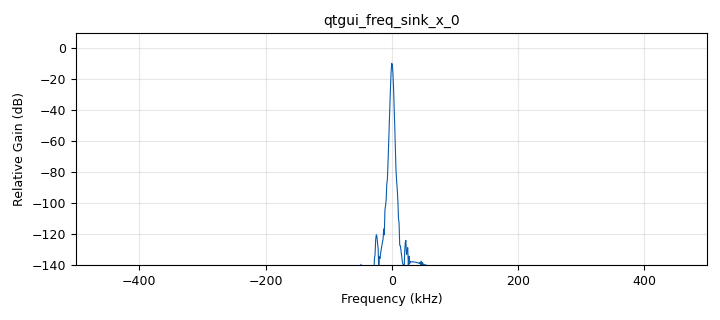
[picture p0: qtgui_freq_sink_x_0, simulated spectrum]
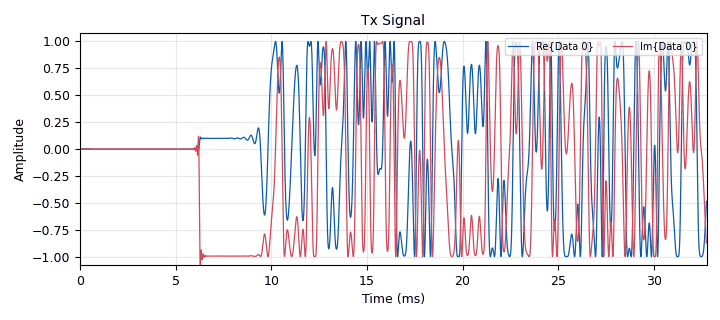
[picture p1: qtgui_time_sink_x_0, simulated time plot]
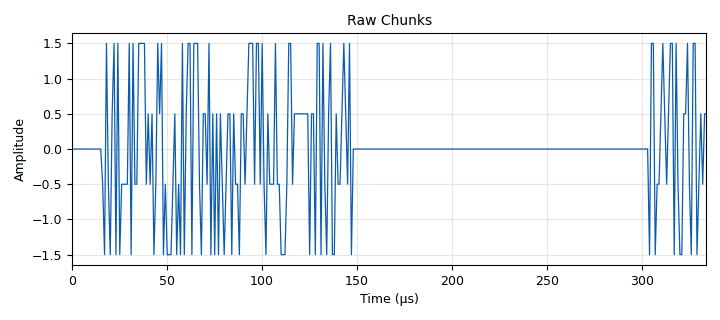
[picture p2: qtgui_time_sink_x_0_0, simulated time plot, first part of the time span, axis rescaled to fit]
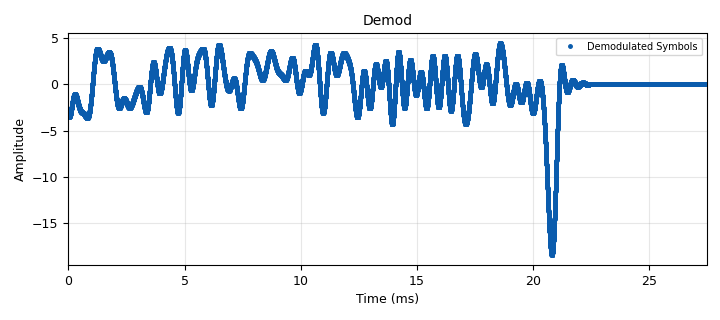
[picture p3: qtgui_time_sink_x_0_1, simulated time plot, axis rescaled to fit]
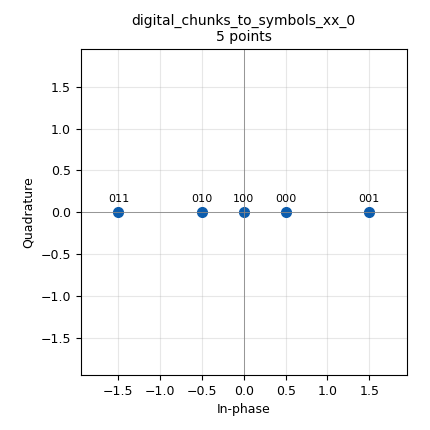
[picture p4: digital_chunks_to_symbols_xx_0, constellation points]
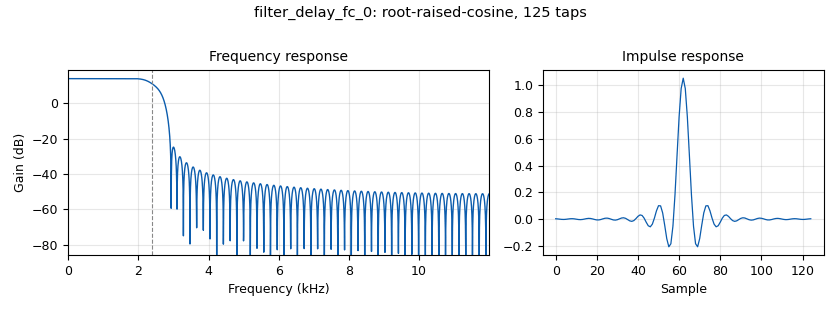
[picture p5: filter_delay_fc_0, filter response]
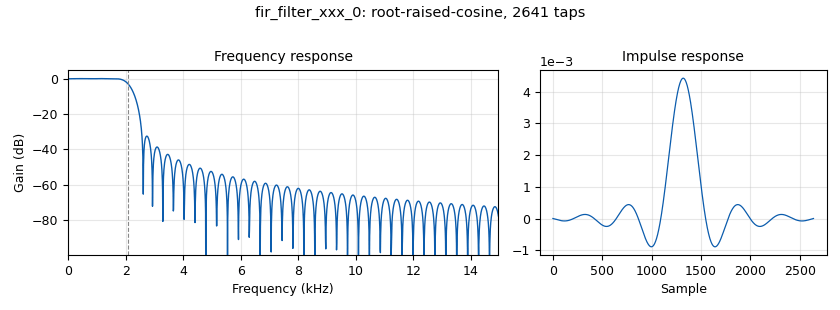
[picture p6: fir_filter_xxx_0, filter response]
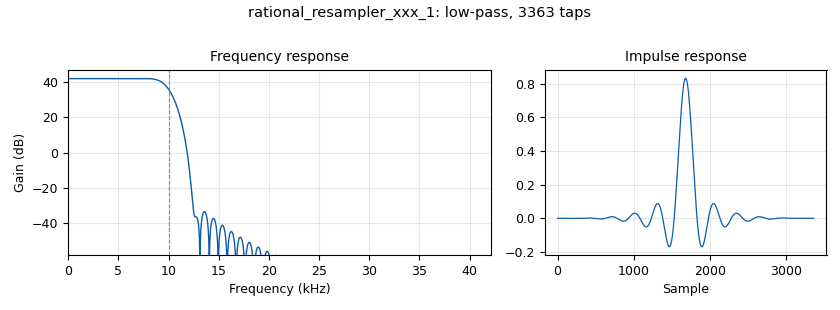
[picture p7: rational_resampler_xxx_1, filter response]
options:
  parameters:
    generate_options: qt_gui
    id: dmr_cleann
    output_language: python
    title: dmr_cleann
  states: {}

blocks:
- name: center_freq
  id: variable_qtgui_range
  parameters:
    gui_hint: 0, 0, 1, 1
    label: center_freq
    start: 425e6
    step: 1e3
    stop: 445e6
    value: '433575000'
  states: {}
- name: freq_dev
  id: variable_qtgui_range
  parameters:
    gui_hint: 0, 1, 1, 1
    label: freq_dev
    start: '500'
    step: '1'
    stop: '200000'
    value: '648'
  states: {}
- name: hex_words
  id: variable
  parameters:
    comment: |-
      [7922263870538771554788080363891498916691662015450391719279984254915555048686304, 26709872891040799439781105841695362327852587069220375972205448215691272463949631, 24632910507550592818247771191970292757703581224215796293536253518757021152353033, 16871621001854400919925535024706779052650019372438533289640847735202188530523145, 26824818206225312975064957313613261167321437644939396728492416553849084082500453, 27663229782224739662601419111465142577709463063250896002360562318052340493037923, 26958545861704246671181170751509104922032500646138449382658833719189317675987138, 16402627696236514389013506453749182099769419891517576542395337516955926239731634, 21887647269882610507288722967177175610698849557442250192089839496524973896091440, 27663286116094670893210372459089739373168061738061717604723508240785537456919753, 27121418726934060902654747431263863508212573902429154683271051170752610922408559, 4940239758846934288267106674176986337306400137116682937028907199983195269836663, 11108034536414303417784923599085334126292549866564147455437486366077868870165517, 14799419979491821113733130742144015081373118929375431063257504647379789623081179, 25408521133743610169800742925184222080926687120998889710077886340988878094019826, 15568801836391479749091631638782144528669110993217441680445368105322513767835430, 17516847743889772710541317239220557284245050271030362747744172631093644536039211, 22479064255756331329801296419312533648414960045145005380156808990817250862673014, 22495859007588135102615761808608677049200507852894023470071500259248076992845575, 24848736754538546024478519613494297402133116563951296630601520822330820034740300, 27347587290963256812155734283133067028984950710684654062162071270332604141143471, 26831994426409510897562566815423460506692495329755449114518611707460616820876901, 23634498427772464745182622902883708948473646743238395208297793674932429281051641, 18620656575926070181322878553908320886914182186499974457777017164777599877798147, 18586970608344366164259669921291245709020499735972358058399275694007884897882266, 25369554621359088820805775665844414652957925060636512781164864325463790405375894, 21082525814476989905574975920952114599082097357872579096278662972043139778184347, 19159143714142652283037644684485569273591048195975097720015931975158807296265357, 16791849106554165435985277793868064428262757272039727328492268837643815762200910, 17090316608616044549321392683728029821978348269625346216262490181077229528489603, 26410170127378604961207705824639924702648680552948553211990034777095647835409831, 24233253860995791985149968324399206235212615694119655868299081374302515589867345, 18555869289839373115030732163138046540215772590417393158286525169331653215378903, 20539715003465807518725369021551918559622346767243963537115679987248437835127791, 22118226684741381218940769694959025495606395396926664388181413087471773083995138, 28170796749637100509759318343397827275335618089388381892237825724242361843186126, 17300919210009764062621873438791748153410060831908872303794440294343782608163231, 25187823191548160476999418873495074677941339215448258605330477210100811333070817, 19926870475024572177043202969657454715526176166499178067879086621232794639897022, 24305929893608133296263431621368677397656278058262475580218936496647349081703126, 16330039234082078806269392032754122922223412517172110388738478228050777775099151, 23755425456272907406341259237993547798293496824923774147223695260874132375298731, 15449152098412870738636898177675979371424462675606797708241870721047216970023936, 7875676006006970276557264986319862794334493852615962818455253901179498585326291]
      [1757267730907742830085168796217001194752813194112263741422447119562445457171871]*30

      [9513503246535782987614304013916021342356500772260679874632373391689932418486236, 9513503246535782987614304013916021342356500772260679874632373391689932418486236, 2278714118169264277612699032779929639762874309268204459804087227773866138249413, 26462469496224397088440844053386454384972594435474114797896435687862641900129202, 26668349348269969589931260325979833937787879843379739630781327088706780943671747, 1468099867413973213247680580711071278886423938716145034362483539768021877345754, 26402832252828233928913529535718491873730747610793031073761072587506524617566005, 18087375007986647752551926098857096339719704410353295167052978748006581727945673, 16972996165271527524167024586252771373900444840383143972700936390893915428189679, 27894362070127029453224365210857713442164141746588282870049679965589933802310439, 27705302269125699213632628655710556083608629333011335802550978428330914100880319, 22668136121439863997646010615885261026544227464885101690217209288886099315439959, 24311022422883374594338908244858817758972398586543772721833670740241449758048062, 24724913216133454411669897530506787649656322516805802996642446593158369402170499, 22451084148644202558721005120690198094544908539258333088311174325674037099676596, 16784158573267531312657874937639990678179711361978268687360740494625024308722701, 14997978627332065005254399785556737776067509886159607102308344772768993023708041, 15734278551405336803505313816361026740634350895275190559130526647550825276798307, 15229443783255002919552842820849893586693103124766658350274106538772156987971503, 26469006387725321874821901084831917715613221368125000453279146905104808887158153, 24752823018615360893455117052948271271267907105550672025424197895138234233466286, 18933494860212430096488832099532324102361564581144649226283403722656897363450189, 26142804645378831012328175913347459655556070229029169047944641323259210788701042, 22659209297163927376632257456242078097344001379862955822009532216169811258232785, 24179420430900638294788172776095726398641098586277220320138597916116733058902157, 18942597888434393514370135308971533071870072453746868528907573056021592643142757, 23151701775203304556341632693099959485286934654274612866128912717687148270540067, 18716891348414179464387502094367095036688065025505905234415130246971846410716121, 26817815016548353801375034495945852055476137392040831886898092151820387182051518, 15013817871953762006654956667693888307374535311559292856587388347735693620897920, 22647857253923049190592977155484659065171117617826314811538499150223442547846578, 15389168510227462281663145556500652573797322484176024042793925116527932014014178, 26345966453800399631157267967029458378792260780076524641982791617160789341854797, 26139331815575954991757339480249715462943381896621224349366503058102144395437348, 23105251018152113789872357733572294932423418755607299083849735981075850023501131, 28580883164662837687097875885904015579871415031235393063443886158052074872112012, 28660887736081461549876216524320228676461131167871107527572709790713477548989606, 15252451797426671360843611251324556178380992302692457510566553493959361668641015, 19197145666054074828706693783034331207806147048909370879870953770418529575164339, 24495532605314590110983533999952189524050139750711617029023509260657861777466364, 24410605281103853887074089595199920159594700272182877467989445189262555289020220, 17356721038986783886569737494149125877480504994623602567451357417379009199887779, 20490361655453900429325320058504452045390159070802760767114562130729150961360111, 26359002486666689738711955368639805477953955791882573153110042183808862365880823, 19449509927851124677776424071363710140094480125789239659390761476752955353088279, 24429944846008159431772145780977518302176649491691568183775250898248143522420082, 22423483358193490326513009898859712397438446966387231514199014870801163121108391, 21248420772241489195551286592979989820419626291860011842851338458544322472880047, 18965489479409363625423653334192335456057727948674173466044319710150437510594309, 19400618424464945516886426652081829808959388577277059048796477025138176692627484, 21269295920393973589442589701709494214467770777555200201810864512672434205477037, 28010457844255594650832235339947166907561411132108660150308571437310046576901505, 28348804240281025725554576384269387559699710496976748153037589560997720775381099, 19195445662526305050286292099436680538419309989152201893095301814546178628435621, 26356393659429951995869500549028568902916024449003710147835113064141357817186659, 16882322505527512744144091406914530737250706173438323269525186852576358446820512, 15714848119809338465367324263080621469453865407661395352120207124832252325568559, 22329440281878668463576354497857020796184564063823694902646997328960852619895416, 14890614038442699426824080085298165644603702984558263151974197119073087828063331, 24414172681731834292858888838189109656100230808050837612271120303541678969953442, 26375744201507556376460039704794743152632871824877839028179471811466999345767027, 23110214417624702031573556007046447981527577267548388385724533527471373410892091, 18948873071525866148405445846417107161677267461101230322946277698356444282544161, 15270731467379227707526804956266373460380258449158590347254539091497412443043497, 22562454834794305920919719767722539034148634123066521766217832061953149471995141, 26166822638316837051006089044494014021959750714958421606056387843284775821151089, 24850095346281374112003793293588861769545456251856294778427670486165641190957328, 15018333168679778966103245931170444003080983323621064361386835954529094799972530, 24738419490140127856295706367358735333772791771654151179527821755589791178087533, 22438984545008024791292413340618013596442716065897180034625477700494248870768249, 26131210718269351211394185192048839555061196903583749650134908869306407460783049, 15121864331829338961249860126576639982006231545801930890763387445505689583264772, 20597159432197407099142326821227849646168095727489333843505473375007537544238386, 26577526955284069026896932291242007126426728906442216486956803558387426275372966, 26112555207750995016248899814397982340578748575217262583840215691273774979140991, 23102799672416382411952483787936394216631357031778339443812668324472365894629281, 18834499187407862411178009673391048859626917530088944780760123319317415368909208, 15742886924711683320737357445436737746615736533731140370901057386422378542508229, 17357643807449918194490677567331569292190645973513913034780909602709513478892696, 15012451103660743017878498368056067017644114626947522285376364980599415320951717, 21062531898376312262441509268550435370819668611689816563219392226895725565225027, 15137299484487308486999801463740393563379692682175650963555864766330630529563794, 19194481711979976668524371859162828569819660451728086481320879643438328862677336, 26086379411091895079063488434951098989076673266190994892172077468325374025466038, 15251646258251638750128036971572403636804184779919102728655996812494254997740688, 20470103725315244946379234662972677996969499254535304044456678180786635745339630, 24765328618450401328499686534982720483694061458726461046988356118964209164337417, 17576257402370251724764204319029689499198637170270865123965037466420762934493584, 2296717529313062743688493593517391350482310846375893219038673991169094593823744, 3936934595427181912345560743429468591786841442271401269945236266243518072112128, 3936934595427181912345560743429468039162704323538737314073001084148004742513664, 3936934595427181912345560743429466379580959775682303220495845086130070217573376, 9526621727116117363877639711868354657438401511692219488615814612492156957593583]
    value: '[9513503246535782987614304013921958692758157565252427615544856760023329707560924, 28662509330521613057773260359142023558529602549351783348282257037764735946483266, 17517972609930215343333426850922979011626882857286013744709741141381106591213987, 26701280154672075880199468759835938183501521264407164528595479816123686035697715, 25911874668932558193419208520938789463415860318168148489269482991002344413872676, 20991738945384674385377309060999291628000111326394687408389253493947700279842966, 16981081125014388250904438095302754142716931724846564752878304969666311914290896, 23402046865834238912484446034649402294679772837580056750157249615268433124628825, 26476936965913980499285165124990023221110066813626864003422893224567900974541103, 24631553224611672747467928144842019010924741731104283175944381297943813509712479, 26810800266900566829518137487570211080734432002573400527470734510929113214985373, 25816889206294179621984164256144431802907689315378668838844477686274150693350474, 27763194449398308151392137211750028974198052612057960675191962780474241020651036, 22177698390708221525385954811572343392904896437005285801408944003125244814018117, 28971956705271669162389844126829899751807431138220089232443243693071216906110839, 21960139442482837518066778982787853577218383597236171935107204213027670894154821, 23957419214744724599019636917800131167742850251674079969281041914367341207005520, 14846790530978265707286986014584213761513176235578884363042916526807847842102406, 26808710379613485109239022028674925840763455882113340373337156520518832670606269, 18770238831617536536725268427629220175470694207713392118321110637370982754877166, 26538677680155504589105149094912964021288815221786430398667730601055192703168492, 14095042705603355279413227780658336730933701267440831826413395532527732295802095, 15310021143524052907589639760977536765427625656175114739242256986045451615715121, 28404423617740613391135958843783352556241550426281973270621950981239222532860243, 22619319686751542613133275404278244984409310405390506987634964688469587451606318, 26093988310854684287922822215421644974469468918067749799470950670012129211608465, 15174390276359625750959381467537389083649701122841377261544380369099813858899924, 17407788908489546770280169143654446260130321348525249643592068175551089443912709, 22956913062528150404313523553962905648216854765400627511575726844438642688676953, 22446891530300042963168823057518222828577617827705315873671816861238839429124331, 15687462983679677805796872028664621692991718642830193990635766143332585084891463, 16487993064947980561361391720432460355838475074767274804342254056249105689934160, 24953252147249046941140404149478586705485325401371503231651684463811899835327264, 22655570360405727723799745727733333873060617886529310724741371028367357645454258, 16975945804306301277884774160261998006094970708148621567607309854124090444835285, 20568050425709060102977622816009432899273944494288317886092167634720966187076885, 19413784088933443675987651689853858359594385268141335425831656680738532486286789, 15247071032722085083353615185585230064355747663405490199175296533528989070797368, 20830535162669818816419358694349206457135193920669447337925901521307295873282539, 322840243026654247259397352834826175760738634730342763762578872629686565768538, 28685637378041657449726757600200157852344725574178093698366959389579485269052805, 24964402922353695110700206907743768633229279875498199744666735191089344063246711, 24892021028099489130043735219338305534156968656369041296195945666867370948154573, 17233243997380289922644857267680643675355632445995122482953070741335279528628429, 19207193813939027283137000819965054883069845390913525369972655886183246330481459, 15695836476533333688840741751419418018501770687803171107170486695644458916629401, 21164387208833026345099589393172593609706629115314883510296235446665087813460263, 24968180681486010323546568306568197319374669432064029110375084827744249010668211, 22762704557722091182046688247251241303004865976813987232163595992258785867418787, 19732482591418152680827328199567448648252153386793934870403334107822669391194205, 25578523383834151545591870785539967853105618308457919919556197145863487833888861, 19096422547317854886736863275228236405644343180235379915058915532729448528452749, 15202285097923273859292593508644279434201398357984789876895395978686905028252100, 15624819103975864829238515792182836095257662736037002712584250232450858105637757, 15463684700840062330353660381795613172878741629172556509099281159872669442427747, 15602207945973932266306441301651616604337217376182875303908888691135557847057549, 19439165211873532532702235200797983526603656589627370329462031953257293101711817, 15511345311054318093645359573693134685082417572672769881352983006350566714492449, 22299557676679002799278866189138700575900341347061189102669902797129347998281918, 5047047250973251616065219058637523040331902132982151944155570176311829334633964, 21115216937590095596709735616384117081600587727467877258153540006397502083094996, 22772494975875171765977922930802981323484931517846360403891773117286915300178441, 22773000060286287581856079282009093347165763405076391510156807313766966849408815, 24624320288473158908659026661828778252142868511986515608843332159693667658730317, 18948694912653496071860038924448926417004449684737596149263794618284745972404879, 16850358653062036008408552681033717592240567525638293461031130388260256480873083, 26701733131480430458709165900974369355806900012742809590180199551780958214146877, 9526621727116117363877639711874292007752946434379344580911704408850094937575407]'
  states: {}
- name: hex_words_sonnette
  id: variable
  parameters:
    value: '[1, 1, 1, 1, 1, 1, 1, 1, 3, 3, 1, 1, 1, 3, 3, 3, 3, 3, 3, 3, 1, 1, 1, 1, 1, 1, 1, 1, 3, 3, 1, 1, 1, 1, 1, 1, 1, 1, 3, 3, 1, 1, 1, 3, 3, 3, 3, 3, 3, 3, 1, 1, 1, 3, 3, 3, 3, 3, 3, 3, 1, 1, 1, 1, 1, 1, 1, 1, 3, 3, 1, 1, 1, 3, 3, 3, 3, 3, 3, 3, 1, 1, 1, 3, 3, 3, 3, 3, 3, 3, 1, 1, 1, 3, 3, 3, 3, 3, 3, 3, 1, 1, 1, 3, 3, 3, 3, 3, 3, 3, 1, 1, 1, 1, 1, 1, 1, 1, 3, 3, 1, 1, 1, 1, 1, 1, 1, 1, 3, 3, 1, 1, 1, 3, 3, 3, 3, 3, 3, 3, 1, 1, 1, 1, 1, 1, 1, 1, 3, 3, 1, 1, 1, 1, 1, 1, 1, 1, 3, 3, 1, 1, 1, 1, 1, 1, 1, 1, 3, 3, 1, 1, 1, 3, 3, 3, 3, 3, 3, 3, 1, 1, 1, 3, 3, 3, 3, 3, 3, 3, 1, 1, 1, 3, 3, 3, 3, 3, 3, 3, 1, 1, 1, 3, 3, 3, 3, 3, 3, 3, 1, 1, 1, 1, 1, 1, 1, 1, 3, 3, 1, 1, 1, 3, 3, 3, 3, 3, 3, 3, 1, 1, 1, 1, 1, 1, 1, 1, 3, 3, 1, 1, 1, 1, 1, 1, 1, 1, 3, 3, 1, 1, 1, 1, 1, 1, 1, 1, 3, 3, 1, 1, 1, 3, 3, 3, 3, 3, 3, 3, 1, 1, 1, 1, 1, 1, 1, 1, 3, 3, 1, 1, 1, 3, 3, 3, 3, 3, 3, 3, 1, 1, 1, 3, 3, 3, 3, 3, 3, 3, 1, 1, 1, 1, 1, 1, 1, 1, 3, 3, 1, 1, 1, 1, 1, 1, 1, 1, 3, 3, 1, 1, 1, 3, 3, 3, 3, 3, 3, 3]'
  states: {}
- name: if_samp_rate
  id: variable
  parameters:
    value: '24000.0'
  states: {}
- name: low_pass_filter_taps_tx_resampler
  id: variable_low_pass_filter_taps
  parameters:
    cutoff_freq: '10000'
    gain: sps
    samp_rate: samp_rate*3
    width: '3000'
    win: window.WIN_BLACKMAN
  states: {}
- name: mult_const
  id: variable
  parameters:
    value: '1'
  states: {}
- name: num_silence_slots
  id: variable
  parameters:
    comment: Number of consecutive 30ms silence slots after each data burst. 1 = data/silence/data/silence (original behaviour) 3 = data/silence/silence/silence/data
    value: '1'
  states: {}
- name: postamble_symbols
  id: variable
  parameters:
    comment: 'carrier symbols held after the last data symbol before the radio is muted. Value 4 = 0.0 Hz deviation (pure carrier), same as preamble. 3 symbols * (1/4800 sym/s) = 0.625 ms tail. Also carved from the silence budget: total frame length stays unchanged.'
    value: '2'
  states: {}
- name: preamble_symbols
  id: variable
  parameters:
    comment: CW carrier symbols transmitted before each data burst to let the radio stabilise. Value 4 maps to 0.0 Hz deviation (pure carrier). 5 symbols * (1/4800 sym/s) = 1.04 ms. Carved out of the silence period so total frame length is unchanged.
    value: '2'
  states: {}
- name: samp_rate
  id: variable
  parameters:
    value: 1e6
  states: {}
- name: samples_per_symbol
  id: variable
  parameters:
    value: '5'
  states: {}
- name: sps
  id: variable
  parameters:
    value: '125.0'
  states: {}
- name: symbol_rate
  id: variable
  parameters:
    value: if_samp_rate / samples_per_symbol
  states: {}
- name: tx_rrc_taps
  id: variable_rrc_filter_taps
  parameters:
    alpha: '0.2'
    gain: '5'
    ntaps: 25*samples_per_symbol
    samp_rate: if_samp_rate
    sym_rate: symbol_rate
  states: {}
- name: tx_symbols
  id: variable
  parameters:
    comment: 'Each burst = [carrier preamble][data][silence]. Preamble (value 4 = 0 Hz deviation) warms up the radio before data. Silence shortened by preamble_symbols so total frame length is unchanged: preamble_symbols + 132 + (156*num_silence_slots - preamble_symbols) = 132 + 156*N'
    value: sum([[4]*preamble_symbols + [int(bin(h)[2:].zfill(264)[i:i+2], 2) for i in range(0, 264, 2)] + [4]*(156 * num_silence_slots - preamble_symbols) for h in hex_words], [])
  states: {}
- name: analog_frequency_modulator_fc_0
  id: analog_frequency_modulator_fc
  parameters:
    comment: |-
      0.339292 -> for real DMR
      2 * math.pi * freq_dev / (if_samp_rate * 0.5)
    sensitivity: 2 * math.pi * freq_dev / (if_samp_rate * 0.5)
  states: {}
- name: analog_quadrature_demod_cf_0
  id: analog_quadrature_demod_cf
  parameters:
    gain: samp_rate / (2 * math.pi * freq_dev)
  states: {}
- name: blocks_complex_to_float_0
  id: blocks_complex_to_float
  parameters:
    maxoutbuf: '8192'
  states: {}
- name: blocks_vco_c_0
  id: blocks_vco_c
  parameters:
    amplitude: '1'
    samp_rate: samp_rate
    sensitivity: '8143'
  states: {state: disabled}
- name: blocks_vector_source_x_0
  id: blocks_vector_source_x
  parameters:
    comment: |-
      [int(b) for b in bin(0x177771771771711111717171177177117)[2:]]
      [0, 1, 1, 1, 0, 1, 0, 0, 0, 1, 1, 1, 0, 1, 1, 1, 0, 1, 0, 0, 0, 1, 0, 0, 0, 1, 1, 1, 0, 1, 0, 0, 0, 1, 0, 0, 0, 1, 0, 0, 0, 1, 0, 0, 0, 1, 1, 1, 0, 1, 1, 1, 0, 1, 0, 0, 0, 1, 1, 1, 0, 1, 1, 1, 0, 1, 1, 1, 0, 1, 0, 0, 0, 1, 0, 0, 0, 1, 0, 0, 0, 1, 0, 0, 0, 1, 1, 1, 0, 1, 0, 0, 0, 1, 1, 1, 0, 1, 1, 1, 0, 1, 1, 1, 0, 1, 0, 0, 0, 1, 1, 1, 0, 1, 0, 0, 0, 1, 0, 0, 0, 1, 1, 1, 0, 1, 1, 1, 0, 1, 0, 0, 0]
      [1, 0, 0, 0, 1, 0, 1, 1, 1, 0, 0, 0, 1, 0, 0, 0, 1, 0, 1, 1, 1, 0, 1, 1, 1, 0, 0, 0, 1, 0, 1, 1, 1, 0, 1, 1, 1, 0, 1, 1, 1, 0, 1, 1, 1, 0, 0, 0, 1, 0, 0, 0, 1, 0, 1, 1, 1, 0, 0, 0, 1, 0, 0, 0, 1, 0, 0, 0, 1, 0, 1, 1, 1, 0, 1, 1, 1, 0, 1, 1, 1, 0, 1, 1, 1, 0, 0, 0, 1, 0, 1, 1, 1, 0, 0, 0, 1, 0, 0, 0, 1, 0, 0, 0, 1, 0, 1, 1, 1, 0, 0, 0, 1, 0, 1, 1, 1, 0, 1, 1, 1, 0, 0, 0, 1, 0, 0, 0]
    repeat: 'True'
    type: byte
    vector: tx_symbols
  states: {}
- name: blocks_vector_source_x_0_0
  id: blocks_vector_source_x
  parameters:
    comment: |-
      [int(b) for b in bin(0x177771771771711111717171177177117)[2:]]
      [0, 1, 1, 1, 0, 1, 0, 0, 0, 1, 1, 1, 0, 1, 1, 1, 0, 1, 0, 0, 0, 1, 0, 0, 0, 1, 1, 1, 0, 1, 0, 0, 0, 1, 0, 0, 0, 1, 0, 0, 0, 1, 0, 0, 0, 1, 1, 1, 0, 1, 1, 1, 0, 1, 0, 0, 0, 1, 1, 1, 0, 1, 1, 1, 0, 1, 1, 1, 0, 1, 0, 0, 0, 1, 0, 0, 0, 1, 0, 0, 0, 1, 0, 0, 0, 1, 1, 1, 0, 1, 0, 0, 0, 1, 1, 1, 0, 1, 1, 1, 0, 1, 1, 1, 0, 1, 0, 0, 0, 1, 1, 1, 0, 1, 0, 0, 0, 1, 0, 0, 0, 1, 1, 1, 0, 1, 1, 1, 0, 1, 0, 0, 0]
      [1, 0, 0, 0, 1, 0, 1, 1, 1, 0, 0, 0, 1, 0, 0, 0, 1, 0, 1, 1, 1, 0, 1, 1, 1, 0, 0, 0, 1, 0, 1, 1, 1, 0, 1, 1, 1, 0, 1, 1, 1, 0, 1, 1, 1, 0, 0, 0, 1, 0, 0, 0, 1, 0, 1, 1, 1, 0, 0, 0, 1, 0, 0, 0, 1, 0, 0, 0, 1, 0, 1, 1, 1, 0, 1, 1, 1, 0, 1, 1, 1, 0, 1, 1, 1, 0, 0, 0, 1, 0, 1, 1, 1, 0, 0, 0, 1, 0, 0, 0, 1, 0, 0, 0, 1, 0, 1, 1, 1, 0, 0, 0, 1, 0, 1, 1, 1, 0, 1, 1, 1, 0, 0, 0, 1, 0, 0, 0]
    repeat: 'True'
    type: byte
    vector: hex_words_sonnette
  states: {state: disabled}
- name: digital_chunks_to_symbols_xx_0
  id: digital_chunks_to_symbols_xx
  parameters:
    comment: |-
      Contrôle de la fréquence
      [1, 3, -1, -3, 0]
      [ -1.5, -0.5, 0.5, 1.5, 0]
      [0.5, 1.5, -0.5, -1.5, 0]
    dimension: '1'
    in_type: byte
    out_type: float
    symbol_table: '[0.5, 1.5, -0.5, -1.5, 0]'
  states: {}
- name: epy_block_0
  id: epy_block
  parameters:
    _source_code: |-
      import numpy as np
      from gnuradio import gr
      import pmt

      class blk(gr.sync_block):
          def __init__(self, num_silence_slots=1, preamble_symbols=5, postamble_symbols=3):
              gr.sync_block.__init__(self,
                  name='Add Zero Tag',
                  in_sig=[np.float32],
                  out_sig=[np.float32]
              )
              self.zero_tag = pmt.string_to_symbol("zero_samples")
              self.data_symbols = 132
              self.idle_symbols_per_slot = 156
              self.num_silence_slots = int(num_silence_slots)
              self.preamble_symbols = int(preamble_symbols)
              self.postamble_symbols = int(postamble_symbols)
              self.idle_symbols = self.idle_symbols_per_slot * self.num_silence_slots
              self.burst_symbols = self.data_symbols + self.idle_symbols
              self.samples_per_symbol = 5
              self.tag_pos = self.preamble_symbols + self.data_symbols + self.postamble_symbols
              self.zero_samples = (self.idle_symbols - self.preamble_symbols - self.postamble_symbols) * self.samples_per_symbol

          def work(self, input_items, output_items):
              in0 = input_items[0]
              out = output_items[0]
              out[:] = in0
              n = len(out)
              start = self.nitems_written(0)
              for i in range(n):
                  pos = (start + i) % self.burst_symbols
                  if pos == self.tag_pos:
                      val = pmt.from_uint64(self.zero_samples)
                      self.add_item_tag(0, start + i, self.zero_tag, val)
              return len(out)
    num_silence_slots: num_silence_slots
    postamble_symbols: postamble_symbols
    preamble_symbols: preamble_symbols
  states: {}
- name: epy_block_1_0
  id: epy_block
  parameters:
    _source_code: |-
      import numpy as np
      from gnuradio import gr
      import pmt

      class blk(gr.sync_block):
          def __init__(self):
              gr.sync_block.__init__(self,
                  name='Zero Idle Bursts',
                  in_sig=[np.complex64],
                  out_sig=[np.complex64]
              )
              self.set_history(128)  # Safe buffer for delayed tag detection
              self.zero_tag = pmt.string_to_symbol("zero_samples")
              self.sample_counter = 0
              #self.delay = 62  # (125-1)//2 for RRC taps
              self.delay = 62  # (125-1)//2 for RRC taps


          def work(self, input_items, output_items):
              in0 = input_items[0]
              out = output_items[0]
              n = len(out)
              tags = self.get_tags_in_window(0, 0, n, self.zero_tag)
              if tags:
                  tags = sorted(tags, key=lambda t: t.offset)
              abs_n = self.nitems_written(0)
              for i in range(n):
                  for tag in tags:
                      if tag.offset == abs_n + i - self.delay:  # Negative delay postpones zeroing
                          self.sample_counter = pmt.to_uint64(tag.value)
                          break
                  if self.sample_counter > 0:
                      out[i] = 0 + 0j
                      self.sample_counter -= 1
                  else:
                      out[i] = in0[i]
              return len(out)
  states: {}
- name: filter_delay_fc_0
  id: filter_delay_fc
  parameters:
    maxoutbuf: '8192'
    taps: tx_rrc_taps
  states: {}
- name: fir_filter_xxx_0
  id: fir_filter_xxx
  parameters:
    decim: '1'
    taps: firdes.root_raised_cosine(1.0, samp_rate, samp_rate/240, 0.2, 11*240)
    type: fff
  states: {}
- name: note_0
  id: note
  parameters:
    note: NE PAS TOUCHER, MARCHE NICKEL
  states: {}
- name: qtgui_freq_sink_x_0
  id: qtgui_freq_sink_x
  parameters:
    bw: samp_rate
    ctrlpanel: 'True'
    fc: '0'
    fftsize: '1024'
    type: complex
  states: {}
- name: qtgui_time_sink_x_0
  id: qtgui_time_sink_x
  parameters:
    ctrlpanel: 'True'
    name: Tx Signal
    size: 2**15
    srate: samp_rate
    type: complex
  states: {}
- name: qtgui_time_sink_x_0_0
  id: qtgui_time_sink_x
  parameters:
    ctrlpanel: 'True'
    name: Raw Chunks
    size: 2**15
    srate: samp_rate
    type: float
  states: {}
- name: qtgui_time_sink_x_0_1
  id: qtgui_time_sink_x
  parameters:
    ctrlpanel: 'True'
    label1: Demodulated Symbols
    marker1: '0'
    name: Demod
    size: 208*132
    srate: samp_rate
    style1: '0'
    type: float
    width1: '2'
  states: {}
- name: rational_resampler_xxx_0_0
  id: rational_resampler_xxx
  parameters:
    decim: '1'
    interp: samples_per_symbol
    taps: tx_rrc_taps
    type: fff
  states: {}
- name: rational_resampler_xxx_0_0_0
  id: rational_resampler_xxx
  parameters:
    decim: '1'
    interp: samples_per_symbol
    taps: '[1] * int(sps)'
    type: fff
  states: {state: disabled}
- name: rational_resampler_xxx_1
  id: rational_resampler_xxx
  parameters:
    decim: '3'
    interp: int(sps)
    taps: low_pass_filter_taps_tx_resampler
    type: ccc
  states: {}
- name: soapy_limesdr_sink_0
  id: soapy_limesdr_sink
  parameters:
    center_freq: center_freq
    gain: '50'
    samp_rate: samp_rate
    type: fc32
  states: {}

connections:
- [analog_frequency_modulator_fc_0, '0', epy_block_1_0, '0']
- [analog_quadrature_demod_cf_0, '0', fir_filter_xxx_0, '0']
- [blocks_complex_to_float_0, '0', analog_frequency_modulator_fc_0, '0']
- [blocks_vco_c_0, '0', rational_resampler_xxx_1, '0']
- [blocks_vector_source_x_0, '0', digital_chunks_to_symbols_xx_0, '0']
- [blocks_vector_source_x_0_0, '0', digital_chunks_to_symbols_xx_0, '0']
- [digital_chunks_to_symbols_xx_0, '0', epy_block_0, '0']
- [digital_chunks_to_symbols_xx_0, '0', qtgui_time_sink_x_0_0, '0']
- [epy_block_0, '0', rational_resampler_xxx_0_0, '0']
- [epy_block_0, '0', rational_resampler_xxx_0_0_0, '0']
- [epy_block_1_0, '0', rational_resampler_xxx_1, '0']
- [filter_delay_fc_0, '0', blocks_complex_to_float_0, '0']
- [fir_filter_xxx_0, '0', qtgui_time_sink_x_0_1, '0']
- [rational_resampler_xxx_0_0, '0', filter_delay_fc_0, '0']
- [rational_resampler_xxx_1, '0', analog_quadrature_demod_cf_0, '0']
- [rational_resampler_xxx_1, '0', qtgui_freq_sink_x_0, '0']
- [rational_resampler_xxx_1, '0', qtgui_time_sink_x_0, '0']
- [rational_resampler_xxx_1, '0', soapy_limesdr_sink_0, '0']

metadata:
  file_format: 1
  grc_version: 3.10.9.2
